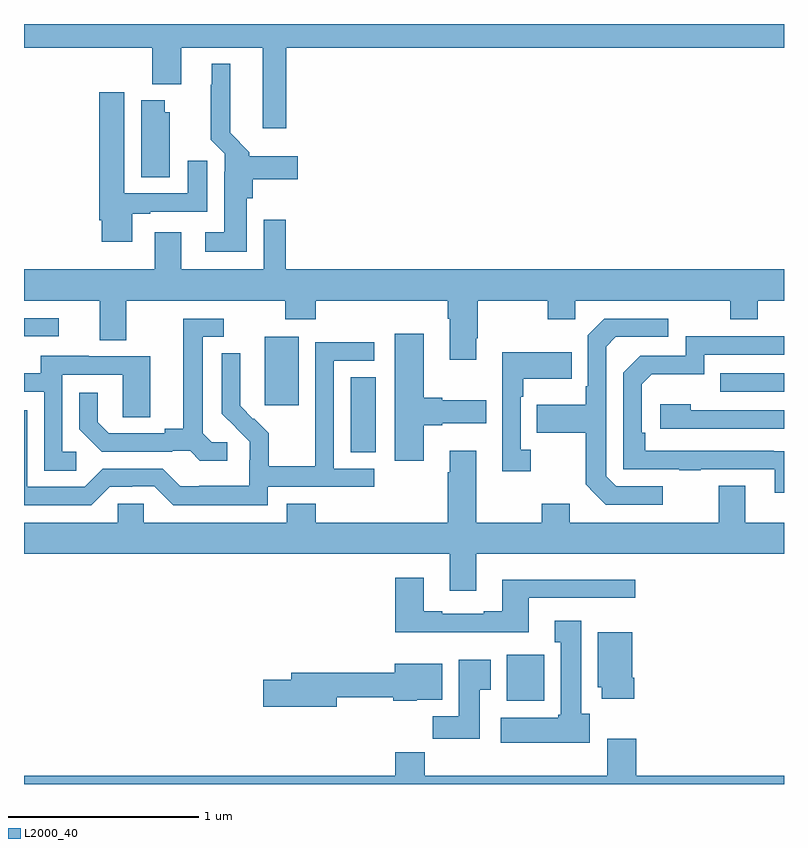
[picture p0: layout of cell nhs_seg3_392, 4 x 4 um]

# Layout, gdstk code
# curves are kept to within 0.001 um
import gdstk
lib = gdstk.Library(unit=1e-6, precision=1e-09)
def R(c, l, rs):  # rectangles x0, y0, x1, y1
    for r in rs: c.add(gdstk.rectangle(r[:2], r[2:], *l))
def P(c, l, *ps):  # polygons
    for p in ps: c.add(gdstk.Polygon(p, *l))
L2000_40 = (2000, 40)

nhs_seg3_392 = lib.new_cell('nhs_seg3_392')
R(nhs_seg3_392, L2000_40, [(133.541,670.838,133.738,671.08), (132.719,672.145,132.85,672.542), (132.266,672.393,132.445,672.754), (134.665,672.465,135,672.561), (131,672.756,131.182,672.852)])
P(nhs_seg3_392, L2000_40, [(132.38,674.276),(135,674.276),(135,674.4),(131,674.4),(131,674.276),(131.675,674.276),(131.675,674.084),(131.827,674.084),(131.827,674.276),(132.257,674.276),(132.257,673.851),(132.38,673.851)],
  [(132.172,673.482),(132.203,673.482),(132.203,673.583),(132.442,673.583),(132.442,673.705),(132.186,673.705),(132.186,673.726),(132.085,673.828),(132.085,674.191),(131.987,674.191),(131.987,674.081),(131.983,674.081),(131.983,673.79),(132.057,673.716),(132.057,673.622),(132.053,673.622),(132.053,673.303),(131.955,673.303),(131.955,673.202),(132.172,673.202)],
  [(131.569,673.401),(131.665,673.401),(131.665,673.413),(131.965,673.413),(131.965,673.681),(131.861,673.681),(131.861,673.509),(131.527,673.509),(131.527,674.041),(131.396,674.041),(131.396,673.366),(131.408,673.366),(131.408,673.254),(131.569,673.254)],
  [(131.767,673.935),(131.74,673.935),(131.74,673.999),(131.618,673.999),(131.618,673.594),(131.767,673.594)],
  [(133.381,672.745),(133.389,672.745),(133.389,672.944),(133.756,672.944),(133.756,672.845),(133.902,672.845),(133.902,672.944),(134.716,672.944),(134.716,672.845),(134.863,672.845),(134.863,672.944),(135,672.944),(135,673.108),(132.377,673.108),(132.377,673.369),(132.261,673.369),(132.261,673.108),(131.827,673.108),(131.827,673.303),(131.687,673.303),(131.687,673.108),(131,673.108),(131,672.944),(131.399,672.944),(131.399,672.736),(131.539,672.736),(131.539,672.944),(132.376,672.944),(132.376,672.845),(132.536,672.845),(132.536,672.944),(133.229,672.944),(133.229,672.848),(133.241,672.848),(133.241,672.633),(133.381,672.633)],
  [(134.362,671.967),(134.118,671.967),(134.064,672.021),(134.064,672.702),(134.115,672.753),(134.392,672.753),(134.392,672.849),(134.055,672.849),(133.968,672.762),(133.968,672.493),(133.956,672.493),(133.956,672.397),(133.699,672.397),(133.699,672.25),(133.956,672.25),(133.956,671.977),(134.061,671.871),(134.362,671.871)],
  [(132.07,672.198),(131.988,672.198),(131.941,672.245),(131.941,672.753),(132.052,672.753),(132.052,672.849),(131.837,672.849),(131.837,672.269),(131.741,672.269),(131.741,672.246),(131.446,672.246),(131.389,672.303),(131.389,672.46),(131.292,672.46),(131.292,672.266),(131.408,672.15),(131.78,672.15),(131.78,672.153),(131.874,672.153),(131.926,672.101),(132.07,672.101)],
  [(133.105,672.287),(133.201,672.287),(133.201,672.299),(133.432,672.299),(133.432,672.421),(133.201,672.421),(133.201,672.434),(133.105,672.434),(133.105,672.769),(132.95,672.769),(132.95,672.102),(133.105,672.102)],
  [(135,672.152),(134.27,672.153),(134.27,672.25),(134.25,672.25),(134.25,672.504),(134.303,672.557),(134.58,672.557),(134.58,672.66),(135,672.66),(135,672.756),(134.484,672.756),(134.484,672.654),(134.244,672.654),(134.154,672.564),(134.154,672.057),(134.449,672.057),(134.449,672.052),(134.561,672.052),(134.561,672.057),(134.951,672.057),(134.951,671.934),(135,671.934)],
  [(132.282,671.964),(132.844,671.964),(132.844,672.06),(132.63,672.06),(132.63,672.627),(132.844,672.627),(132.844,672.726),(132.534,672.726),(132.534,672.296),(132.532,672.296),(132.532,672.073),(132.287,672.073),(132.287,672.247),(132.21,672.324),(132.207,672.321),(132.137,672.392),(132.138,672.668),(132.042,672.668),(132.042,672.35),(132.188,672.202),(132.188,672.105),(132.186,672.105),(132.186,671.971),(131.923,671.971),(131.923,671.967),(131.823,671.967),(131.73,672.06),(131.415,672.06),(131.319,671.964),(131.016,671.964),(131.016,672.366),(131,672.366),(131,671.868),(131.355,671.868),(131.451,671.964),(131.57,671.964),(131.57,671.967),(131.685,671.967),(131.785,671.867),(132.282,671.867)],
  [(133.666,672.158),(133.614,672.158),(133.614,672.437),(133.627,672.437),(133.627,672.533),(133.883,672.533),(133.883,672.673),(133.518,672.673),(133.518,672.045),(133.666,672.045)],
  [(131.275,672.15),(131.202,672.15),(131.202,672.555),(131.52,672.555),(131.52,672.331),(131.665,672.331),(131.665,672.651),(131.341,672.651),(131.341,672.655),(131.087,672.655),(131.087,672.561),(131,672.561),(131,672.465),(131.106,672.465),(131.106,672.049),(131.275,672.049)],
  [(135,672.366),(134.51,672.366),(134.51,672.4),(134.349,672.4),(134.349,672.27),(135,672.27)],
  [(133.381,671.612),(135,671.612),(135,671.776),(134.797,671.776),(134.797,671.971),(134.657,671.971),(134.657,671.776),(133.873,671.776),(133.873,671.875),(133.726,671.875),(133.726,671.776),(133.381,671.776),(133.381,672.154),(133.241,672.154),(133.241,672.041),(133.229,672.041),(133.229,671.776),(132.536,671.776),(132.536,671.875),(132.383,671.875),(132.383,671.776),(131.631,671.776),(131.631,671.874),(131.493,671.874),(131.493,671.776),(131,671.776),(131,671.612),(133.241,671.612),(133.241,671.418),(133.381,671.418)],
  [(133.657,671.379),(134.218,671.379),(134.218,671.476),(133.517,671.476),(133.517,671.308),(133.421,671.308),(133.421,671.295),(133.201,671.295),(133.201,671.308),(133.105,671.308),(133.105,671.485),(132.953,671.485),(132.953,671.198),(133.657,671.198)],
  [(133.978,670.77),(133.933,670.77),(133.933,671.26),(133.793,671.26),(133.793,671.147),(133.826,671.147),(133.826,670.764),(133.813,670.764),(133.813,670.75),(133.509,670.75),(133.509,670.616),(133.978,670.616)],
  [(134.213,670.96),(134.2,670.96),(134.2,671.2),(134.021,671.2),(134.021,670.908),(134.042,670.908),(134.042,670.848),(134.213,670.848)],
  [(133.399,670.897),(133.456,670.897),(133.456,671.053),(133.289,671.053),(133.289,670.756),(133.15,670.756),(133.15,670.638),(133.399,670.638)],
  [(132.646,670.857),(132.943,670.857),(132.943,670.838),(133.068,670.838),(133.068,670.844),(133.201,670.844),(133.201,671.032),(132.95,671.032),(132.95,670.985),(132.407,670.985),(132.407,670.949),(132.258,670.949),(132.258,670.807),(132.646,670.807)],
  [(135,670.444),(134.222,670.444),(134.222,670.639),(134.069,670.639),(134.069,670.444),(133.109,670.444),(133.109,670.568),(132.953,670.568),(132.953,670.444),(131,670.444),(131,670.4),(135,670.4)])

lib.write_gds('nhs_seg3_392.gds')
